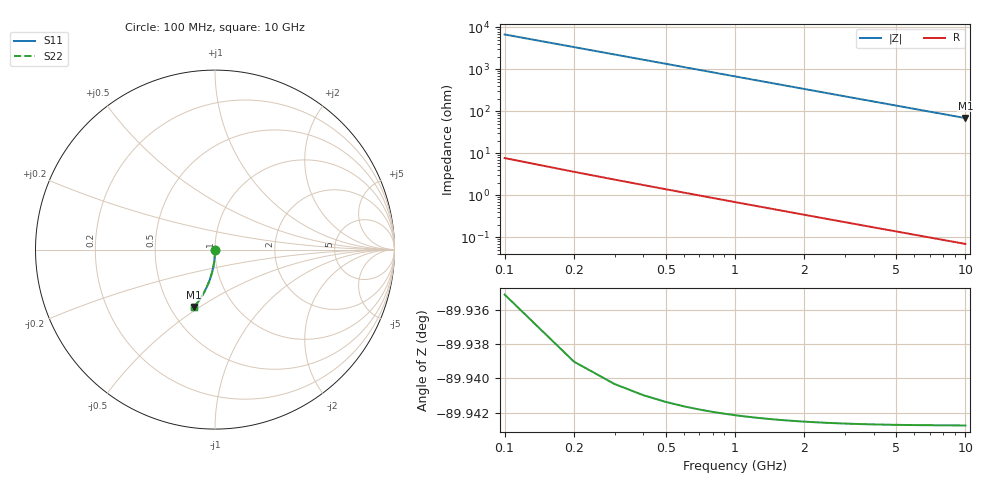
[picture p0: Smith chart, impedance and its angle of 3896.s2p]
# Hz S RI R 50.00
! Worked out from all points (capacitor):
!   100 points, 100 MHz to 10 GHz, reference 50 ohm
!   read as one part in shunt: C = 234 fF near 100 MHz
!   lowest |Z| = 69.2 ohm at 10 GHz (marker M1)
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1e8  -1.68e-05 -0.00367  1 -0.00368  1 -0.00368  -1.68e-05 -0.00367
2e8  -6.09e-05 -0.00734  0.9999 -0.00735  0.9999 -0.00735  -6.09e-05 -0.00734
3e8  -0.000132 -0.011  0.9999 -0.011  0.9999 -0.011  -0.000132 -0.011
4e8  -0.00023 -0.0147  0.9998 -0.0147  0.9998 -0.0147  -0.00023 -0.0147
5e8  -0.000355 -0.0183  0.9996 -0.0184  0.9996 -0.0184  -0.000355 -0.0183
6e8  -0.000506 -0.022  0.9995 -0.022  0.9995 -0.022  -0.000506 -0.022
7e8  -0.000685 -0.0256  0.9993 -0.0257  0.9993 -0.0257  -0.000685 -0.0256
8e8  -0.00089 -0.0293  0.9991 -0.0294  0.9991 -0.0294  -0.00089 -0.0293
9e8  -0.00112 -0.033  0.9989 -0.033  0.9989 -0.033  -0.00112 -0.033
1.1e9  -0.00166 -0.0402  0.9983 -0.0403  0.9983 -0.0403  -0.00166 -0.0402
1.4e9  -0.00268 -0.0511  0.9973 -0.0512  0.9973 -0.0512  -0.00268 -0.0511
1.8e9  -0.00439 -0.0656  0.9956 -0.0657  0.9956 -0.0657  -0.00439 -0.0656
2.1e9  -0.00595 -0.0763  0.994 -0.0765  0.994 -0.0765  -0.00595 -0.0763
2.5e9  -0.00838 -0.0906  0.9916 -0.0908  0.9916 -0.0908  -0.00838 -0.0906
2.9e9  -0.0112 -0.1047  0.9888 -0.1049  0.9888 -0.1049  -0.0112 -0.1047
3.4e9  -0.0153 -0.1221  0.9847 -0.1223  0.9847 -0.1223  -0.0153 -0.1221
4.2e9  -0.023 -0.1493  0.977 -0.1497  0.977 -0.1497  -0.023 -0.1493
5.1e9  -0.0335 -0.1791  0.9665 -0.1795  0.9665 -0.1795  -0.0335 -0.1791
5.9e9  -0.0441 -0.2046  0.9559 -0.2051  0.9559 -0.2051  -0.0441 -0.2046
6.7e9  -0.056 -0.2292  0.944 -0.2297  0.944 -0.2297  -0.056 -0.2292
8.4e9  -0.0849 -0.2779  0.9151 -0.2786  0.9151 -0.2786  -0.0849 -0.2779
1e10  -0.1158 -0.3191  0.8842 -0.3199  0.8842 -0.3199  -0.1158 -0.3191
